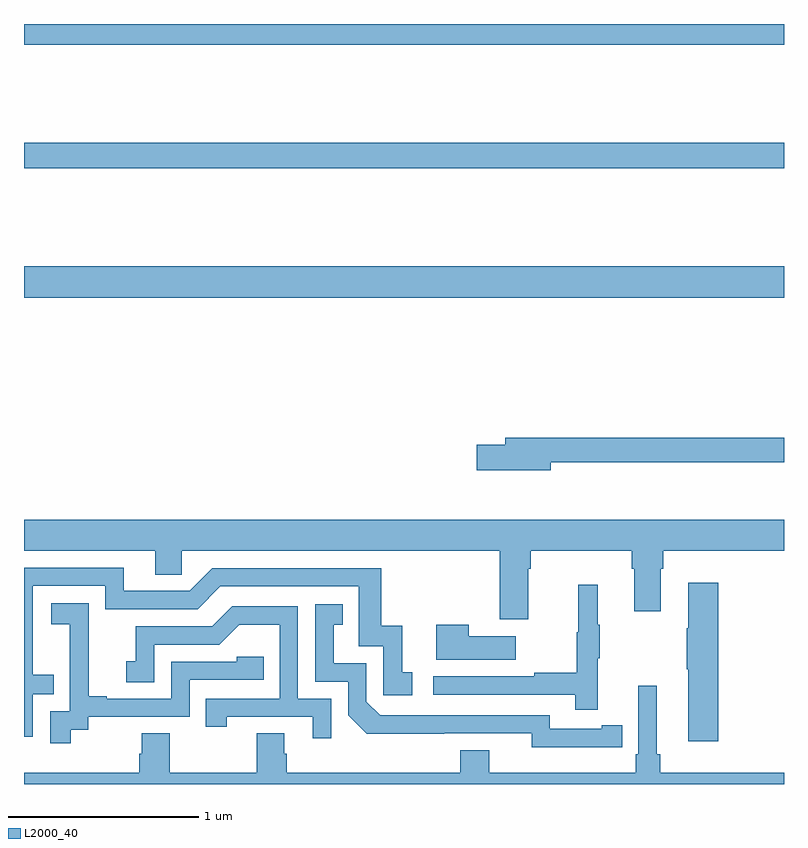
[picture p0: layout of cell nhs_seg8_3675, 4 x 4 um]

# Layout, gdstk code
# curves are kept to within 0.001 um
import gdstk
lib = gdstk.Library(unit=1e-6, precision=1e-09)
def R(c, l, rs):  # rectangles x0, y0, x1, y1
    for r in rs: c.add(gdstk.rectangle(r[:2], r[2:], *l))
def P(c, l, *ps):  # polygons
    for p in ps: c.add(gdstk.Polygon(p, *l))
L2000_40 = (2000, 40)

nhs_seg8_3675 = lib.new_cell('nhs_seg8_3675')
R(nhs_seg8_3675, L2000_40, [(337,1156.46,341,1156.624), (337,1157.14,341,1157.276), (337,1157.792,341,1157.9)])
P(nhs_seg8_3675, L2000_40, [(339.772,1155.594),(341,1155.594),(341,1155.722),(339.533,1155.722),(339.533,1155.686),(339.384,1155.686),(339.384,1155.551),(339.772,1155.551)],
  [(339.655,1155.032),(339.668,1155.032),(339.668,1155.128),(340.199,1155.128),(340.199,1155.032),(340.211,1155.032),(340.211,1154.808),(340.351,1154.808),(340.351,1155.032),(340.364,1155.032),(340.364,1155.128),(341,1155.128),(341,1155.292),(337,1155.292),(337,1155.128),(337.691,1155.128),(337.691,1155.001),(337.83,1155.001),(337.83,1155.128),(339.503,1155.128),(339.503,1154.766),(339.655,1154.766)],
  [(337.047,1154.373),(337.157,1154.373),(337.157,1154.474),(337.047,1154.474),(337.047,1154.943),(337.428,1154.943),(337.428,1154.82),(337.914,1154.82),(338.034,1154.94),(338.763,1154.94),(338.763,1154.625),(338.892,1154.625),(338.892,1154.367),(339.043,1154.367),(339.043,1154.487),(338.99,1154.487),(338.99,1154.734),(338.879,1154.734),(338.879,1155.036),(337.992,1155.036),(337.872,1154.916),(337.525,1154.916),(337.525,1155.039),(337,1155.039),(337,1154.148),(337.047,1154.148)],
  [(340.655,1154.959),(340.496,1154.959),(340.496,1154.72),(340.489,1154.72),(340.489,1154.503),(340.496,1154.503),(340.496,1154.124),(340.655,1154.124)],
  [(340.019,1154.563),(340.03,1154.563),(340.03,1154.737),(340.019,1154.737),(340.019,1154.95),(339.916,1154.95),(339.916,1154.7),(339.909,1154.7),(339.909,1154.486),(339.685,1154.486),(339.685,1154.466),(339.153,1154.466),(339.153,1154.37),(339.901,1154.37),(339.901,1154.292),(340.019,1154.292)],
  [(337.246,1154.185),(337.338,1154.185),(337.338,1154.253),(337.872,1154.253),(337.872,1154.448),(338.261,1154.448),(338.261,1154.571),(338.121,1154.571),(338.121,1154.544),(337.776,1154.544),(337.776,1154.349),(337.435,1154.349),(337.435,1154.362),(337.34,1154.362),(337.34,1154.645),(337.341,1154.645),(337.341,1154.851),(337.143,1154.851),(337.143,1154.741),(337.241,1154.741),(337.241,1154.513),(337.242,1154.513),(337.242,1154.283),(337.137,1154.283),(337.137,1154.115),(337.246,1154.115)],
  [(340.04,1154.094),(340.148,1154.094),(340.148,1154.21),(340.04,1154.21),(340.04,1154.19),(339.768,1154.19),(339.768,1154.262),(338.874,1154.262),(338.802,1154.334),(338.802,1154.535),(338.629,1154.535),(338.629,1154.739),(338.678,1154.739),(338.678,1154.845),(338.532,1154.845),(338.532,1154.439),(338.706,1154.439),(338.706,1154.262),(338.804,1154.165),(339.672,1154.166),(339.672,1154.093)],
  [(338.616,1154.349),(338.442,1154.349),(338.442,1154.835),(338.096,1154.835),(337.991,1154.73),(337.588,1154.73),(337.588,1154.545),(337.539,1154.545),(337.539,1154.436),(337.686,1154.436),(337.686,1154.634),(338.028,1154.634),(338.132,1154.738),(338.346,1154.738),(338.346,1154.349),(337.957,1154.349),(337.957,1154.202),(338.068,1154.202),(338.068,1154.253),(338.519,1154.253),(338.519,1154.142),(338.616,1154.142)],
  [(339.589,1154.677),(339.341,1154.677),(339.341,1154.737),(339.17,1154.737),(339.17,1154.555),(339.589,1154.555)],
  [(341,1153.96),(340.349,1153.96),(340.349,1154.056),(340.33,1154.056),(340.33,1154.416),(340.233,1154.416),(340.233,1154.056),(340.22,1154.056),(340.22,1153.96),(339.448,1153.96),(339.448,1154.077),(339.296,1154.077),(339.296,1153.96),(338.384,1153.96),(338.384,1154.058),(338.371,1154.058),(338.371,1154.168),(338.224,1154.168),(338.224,1153.96),(337.767,1153.96),(337.767,1154.168),(337.619,1154.168),(337.619,1154.058),(337.607,1154.058),(337.607,1153.96),(337,1153.96),(337,1153.9),(341,1153.9)])

lib.write_gds('nhs_seg8_3675.gds')
